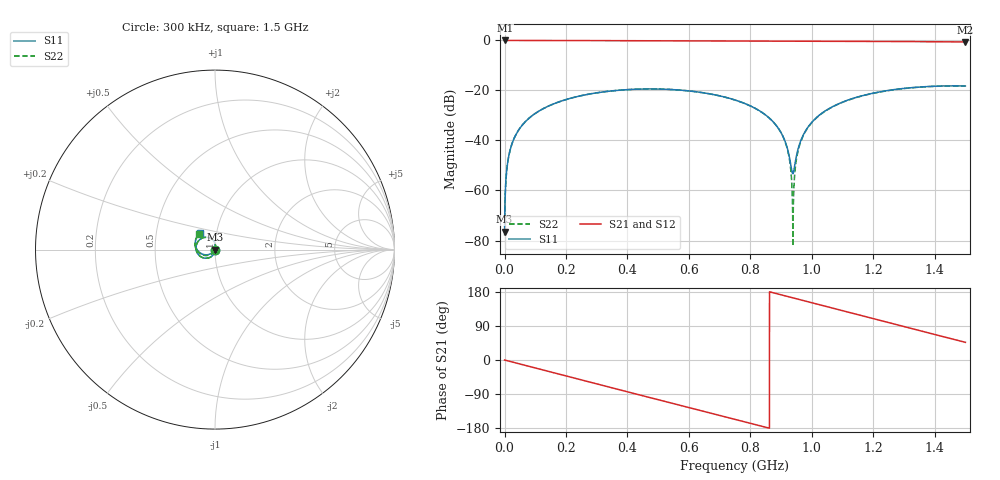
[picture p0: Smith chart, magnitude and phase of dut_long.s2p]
! TOUCHSTONE file generated by CST MICROWAVE STUDIO
! Date and time: Wed Oct 29 20:13:36 2025
! Project name: calkit_sim.cst
! Parameters = {Rgap=0.9; ceq=6.5e-14; cu_t=0.035; dut_x=83.3333; k=7.07; leq=1.1e-09; line_gap=0.9; line_w=2.5; match_x=66.6667; open_x=16.6667; pad_g=1; pad_x=1.45; pad_z=0.9; ref_1=23.3333; ref_2=16.6667; res_h=0.32; res_len=1; res_w=0.5; short_x=33.3333; sus_l=100; sus_t=1.6; sus_w=40; thru_x=50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
! Header version: 2015
! Port assignment regex: !\s*Touchstone port\s*([0-9]+)\s*=\s*CST MWS port\s*([0-9]+)\s*\(\"(.*)\"\)(\s*mode\s*([0-9]+))?.*
! Touchstone port assignment:
! Touchstone port 1 = CST MWS port 1 ("")
! Touchstone port 2 = CST MWS port 2 ("")
# GHz S MA R 50
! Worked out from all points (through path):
!   5000 points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, 300 kHz to 1.5 GHz, reference 50 ohm
!   highest |S21| = -0.02 dB at 900 kHz (marker M1); lowest = -0.6 dB at 1.5 GHz (marker M2)
!   group delay of S21, straight-line fit = 580 ps
!   lowest |S11| = -76.5 dB at 300 kHz (marker M3), VSWR 1.00, Z = 50 - j0.0106 ohm
!   |S11| at or under -10 dB: start of sweep to end of sweep
!   |S22| runs from -82.3 to -18.2 dB; largest |S21 - S12| = 1.7e-05
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0.0003  0.0001498 -135.1  0.9975 -0.1  0.9975 -0.1  0.0001264 -123.1
0.0009  0.0003348 -108.6  0.9975 -0.2  0.9975 -0.2  0.0003252 -102.4
0.0087  0.003072 -93.9  0.9975 -1.8  0.9975 -1.8  0.003073 -93.2
0.0144  0.005081 -94.3  0.9975 -3.0  0.9975 -3.0  0.005084 -93.9
0.048  0.01687 -100.7  0.9973 -10.1  0.9973 -10.1  0.01688 -100.5
0.1239  0.04253 -116.9  0.9961 -26.1  0.9962 -26.1  0.04256 -116.7
0.2505  0.07877 -144.2  0.9922 -52.7  0.9922 -52.7  0.07879 -143.8
0.5004  0.1067 161.8  0.9805 -104.9  0.9805 -104.9  0.1066 162.5
0.7503  0.0644 108.7  0.9703 -156.7  0.9703 -156.7  0.06427 108.9
0.8373  0.03661 91.4  0.9678 -174.8  0.9678 -174.8  0.03654 90.2
0.8928  0.01694 83.4  0.9665 173.6  0.9665 173.6  0.01688 78.3
0.921  0.006782 88.6  0.9658 167.7  0.9658 167.7  0.00655 71.9
0.9282  0.004335 98.4  0.9656 166.2  0.9656 166.2  0.003892 69.9
0.9336  0.002783 118.4  0.9655 165.1  0.9655 165.1  0.001896 67.5
0.9384  0.002164 157.3  0.9653 164.1  0.9653 164.1  0.0001405 35.7
0.9432  0.00283 -164.6  0.9652 163.1  0.9652 163.1  0.001663 -109.5
0.9501  0.004899 -142.4  0.965 161.7  0.965 161.7  0.00422 -112.6
0.96  0.008372 -133.3  0.9648 159.6  0.9648 159.6  0.007892 -115.2
1.0002  0.02312 -132.2  0.9637 151.2  0.9637 151.2  0.02274 -124.0
1.0953  0.05679 -149.1  0.9605 131.3  0.9605 131.3  0.05627 -144.1
1.2501  0.1002 179.8  0.9522 98.7  0.9522 98.7  0.0995 -175.8
1.5  0.1226 131.7  0.9318 46.6  0.9318 46.6  0.1222 135.8
